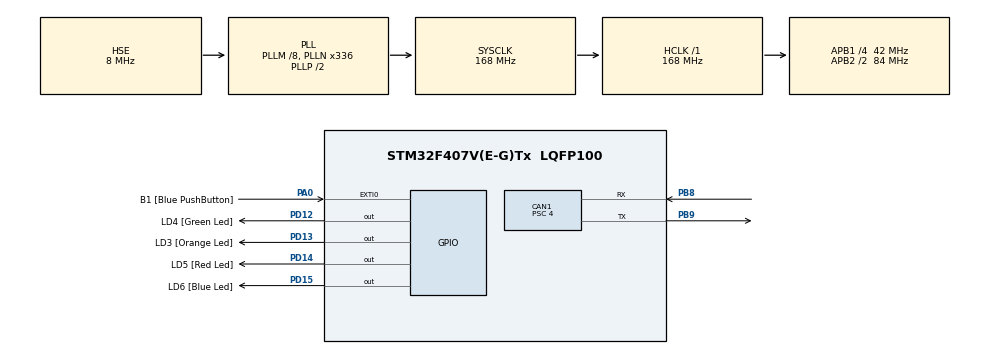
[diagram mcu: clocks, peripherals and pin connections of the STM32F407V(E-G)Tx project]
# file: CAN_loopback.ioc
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CAN1.BS1=CAN_BS1_15TQ
CAN1.BS2=CAN_BS2_5TQ
CAN1.CalculateBaudRate=500000
CAN1.CalculateTimeBit=2000
CAN1.CalculateTimeQuantum=95.23809523809524
CAN1.Mode=CAN_MODE_LOOPBACK
CAN1.NART=DISABLE
CAN1.Prescaler=4
Mcu.Family=STM32F4
Mcu.Name=STM32F407V(E-G)Tx
Mcu.Package=LQFP100
NVIC.CAN1_RX0_IRQn=true\:0\:0\:false\:false\:true\:true\:true\:true
NVIC.CAN1_RX1_IRQn=true\:0\:0\:false\:false\:true\:true\:true\:true
NVIC.PriorityGroup=NVIC_PRIORITYGROUP_0
PA0-WKUP.GPIO_Label=B1 [Blue PushButton]
PA0-WKUP.GPIO_ModeDefaultEXTI=GPIO_MODE_EVT_RISING
PA0-WKUP.GPIO_PuPd=GPIO_NOPULL
PA0-WKUP.Signal=GPXTI0
PA13.GPIO_Label=SWDIO
PA13.Mode=Trace_Asynchronous_SW
PA13.Signal=SYS_JTMS-SWDIO
PA14.GPIO_Label=SWCLK
PA14.Mode=Trace_Asynchronous_SW
PA14.Signal=SYS_JTCK-SWCLK
PB3.GPIO_Label=SWO
PB3.Mode=Trace_Asynchronous_SW
PB3.Signal=SYS_JTDO-SWO
PB8.Mode=CAN_Activate
PB8.Signal=CAN1_RX
PB9.Mode=CAN_Activate
PB9.Signal=CAN1_TX
PD12.GPIO_Label=LD4 [Green Led]
PD12.GPIO_PuPd=GPIO_NOPULL
PD12.GPIO_Speed=GPIO_SPEED_FREQ_LOW
PD12.Signal=GPIO_Output
PD13.GPIO_Label=LD3 [Orange Led]
PD13.GPIO_PuPd=GPIO_NOPULL
PD13.GPIO_Speed=GPIO_SPEED_FREQ_LOW
PD13.Signal=GPIO_Output
PD14.GPIO_Label=LD5 [Red Led]
PD14.GPIO_PuPd=GPIO_NOPULL
PD14.GPIO_Speed=GPIO_SPEED_FREQ_LOW
PD14.Signal=GPIO_Output
PD15.GPIO_Label=LD6 [Blue Led]
PD15.GPIO_PuPd=GPIO_NOPULL
PD15.GPIO_Speed=GPIO_SPEED_FREQ_LOW
PD15.Signal=GPIO_Output
PH0-OSC_IN.GPIO_Label=PH0-OSC_IN
PH0-OSC_IN.Mode=HSE-External-Oscillator
PH0-OSC_IN.Signal=RCC_OSC_IN
PH1-OSC_OUT.GPIO_Label=PH1-OSC_OUT
PH1-OSC_OUT.Mode=HSE-External-Oscillator
PH1-OSC_OUT.Signal=RCC_OSC_OUT
ProjectManager.HeapSize=0x200
ProjectManager.StackSize=0x400
ProjectManager.TargetToolchain=STM32CubeIDE
RCC.48MHZClocksFreq_Value=48000000
RCC.AHBFreq_Value=168000000
RCC.APB1CLKDivider=RCC_HCLK_DIV4
RCC.APB1Freq_Value=42000000
RCC.APB1TimFreq_Value=84000000
RCC.APB2CLKDivider=RCC_HCLK_DIV2
RCC.APB2Freq_Value=84000000
RCC.APB2TimFreq_Value=168000000
RCC.CortexFreq_Value=168000000
RCC.HCLKFreq_Value=168000000
RCC.HSE_VALUE=8000000
RCC.HSI_VALUE=16000000
RCC.LSE_VALUE=32768
RCC.PLLM=8
RCC.PLLN=336
RCC.PLLQ=7
RCC.PLLSourceVirtual=RCC_PLLSOURCE_HSE
RCC.SYSCLKFreq_VALUE=168000000
RCC.SYSCLKSource=RCC_SYSCLKSOURCE_PLLCLK
RCC.VCOOutputFreq_Value=336000000
board=STM32F407G-DISC1

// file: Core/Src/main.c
/* USER CODE BEGIN Header */
/**
  ******************************************************************************
  * @file           : main.c
  * @brief          : Main program body
  ******************************************************************************
  * @attention
  *
  * Copyright (c) 2023 STMicroelectronics.
  * All rights reserved.
  *
  * This software is licensed under terms that can be found in the LICENSE file
  * in the root directory of this software component.
  * If no LICENSE file comes with this software, it is provided AS-IS.
  *
  ******************************************************************************
  */
/* USER CODE END Header */
#include "main.h"

CAN_HandleTypeDef hcan1;

void SystemClock_Config(void);
static void MX_GPIO_Init(void);
static void MX_CAN1_Init(void);

/* USER CODE BEGIN 0 */

CAN_TxHeaderTypeDef TxHeader;
CAN_RxHeaderTypeDef RxHeader;

uint32_t TxMailbox;

uint8_t TxData[8];
uint8_t RxData[8];

uint32_t count = 0;

void CAN_RxFifo0MsgPendingCallback(CAN_HandleTypeDef *hcan){
	HAL_CAN_GetRxMessage(&hcan1, CAN_RX_FIFO0, &RxHeader, RxData);
	count++;
}

/* USER CODE END 0 */

int main(void)
{

  /* MCU Configuration--------------------------------------------------------*/

  /* Reset of all peripherals, Initializes the Flash interface and the Systick. */
  HAL_Init();

  /* Configure the system clock */
  SystemClock_Config();

  /* Initialize all configured peripherals */
  MX_GPIO_Init();
  MX_CAN1_Init();
  /* USER CODE BEGIN 2 */
  void (*pCAN_RxFifo0MsgPendingCallback)(CAN_HandleTypeDef *_hcan) = &CAN_RxFifo0MsgPendingCallback;

  if(HAL_CAN_RegisterCallback(&hcan1, HAL_CAN_RX_FIFO0_MSG_PENDING_CB_ID, pCAN_RxFifo0MsgPendingCallback) != HAL_OK){
	  Error_Handler();
  }
  HAL_CAN_Start(&hcan1);
  HAL_CAN_ActivateNotification(&hcan1, CAN_IT_RX_FIFO0_MSG_PENDING);

  TxHeader.DLC = 4;
  TxHeader.ExtId = 0x301;
  TxHeader.IDE = CAN_ID_EXT;
  TxHeader.RTR = CAN_RTR_DATA;
  TxHeader.StdId = 0;
  TxHeader.TransmitGlobalTime = DISABLE;

  TxData[0] = 0x00;
  TxData[1] = 0x00;
  TxData[2] = 0x1B;
  TxData[3] = 0x58;

  /* USER CODE END 2 */

  /* Infinite loop */
  /* USER CODE BEGIN WHILE */
  while (1)
  {
	  HAL_CAN_AddTxMessage(&hcan1, &TxHeader, TxData, &TxMailbox);

	  HAL_Delay(100);
    /* USER CODE END WHILE */

  }
}

void SystemClock_Config(void)
{
  RCC_OscInitTypeDef RCC_OscInitStruct = {0};
  RCC_ClkInitTypeDef RCC_ClkInitStruct = {0};

  /** Configure the main internal regulator output voltage
  */
  __HAL_RCC_PWR_CLK_ENABLE();
  __HAL_PWR_VOLTAGESCALING_CONFIG(PWR_REGULATOR_VOLTAGE_SCALE1);

  /** Initializes the RCC Oscillators according to the specified parameters
  * in the RCC_OscInitTypeDef structure.
  */
  RCC_OscInitStruct.OscillatorType = RCC_OSCILLATORTYPE_HSE;
  RCC_OscInitStruct.HSEState = RCC_HSE_ON;
  RCC_OscInitStruct.PLL.PLLState = RCC_PLL_ON;
  RCC_OscInitStruct.PLL.PLLSource = RCC_PLLSOURCE_HSE;
  RCC_OscInitStruct.PLL.PLLM = 8;
  RCC_OscInitStruct.PLL.PLLN = 336;
  RCC_OscInitStruct.PLL.PLLP = RCC_PLLP_DIV2;
  RCC_OscInitStruct.PLL.PLLQ = 7;
  if (HAL_RCC_OscConfig(&RCC_OscInitStruct) != HAL_OK)
  {
    Error_Handler();
  }

  /** Initializes the CPU, AHB and APB buses clocks
  */
  RCC_ClkInitStruct.ClockType = RCC_CLOCKTYPE_HCLK|RCC_CLOCKTYPE_SYSCLK
                              |RCC_CLOCKTYPE_PCLK1|RCC_CLOCKTYPE_PCLK2;
  RCC_ClkInitStruct.SYSCLKSource = RCC_SYSCLKSOURCE_PLLCLK;
  RCC_ClkInitStruct.AHBCLKDivider = RCC_SYSCLK_DIV1;
  RCC_ClkInitStruct.APB1CLKDivider = RCC_HCLK_DIV4;
  RCC_ClkInitStruct.APB2CLKDivider = RCC_HCLK_DIV2;

  if (HAL_RCC_ClockConfig(&RCC_ClkInitStruct, FLASH_LATENCY_5) != HAL_OK)
  {
    Error_Handler();
  }
}

static void MX_CAN1_Init(void)
{

  hcan1.Instance = CAN1;
  hcan1.Init.Prescaler = 4;
  hcan1.Init.Mode = CAN_MODE_LOOPBACK;
  hcan1.Init.SyncJumpWidth = CAN_SJW_1TQ;
  hcan1.Init.TimeSeg1 = CAN_BS1_15TQ;
  hcan1.Init.TimeSeg2 = CAN_BS2_5TQ;
  hcan1.Init.TimeTriggeredMode = DISABLE;
  hcan1.Init.AutoBusOff = DISABLE;
  hcan1.Init.AutoWakeUp = DISABLE;
  hcan1.Init.AutoRetransmission = DISABLE;
  hcan1.Init.ReceiveFifoLocked = DISABLE;
  hcan1.Init.TransmitFifoPriority = DISABLE;
  if (HAL_CAN_Init(&hcan1) != HAL_OK)
  {
    Error_Handler();
  }
  /* USER CODE BEGIN CAN1_Init 2 */
  CAN_FilterTypeDef canfilterconfig;

  canfilterconfig.FilterActivation = CAN_FILTER_ENABLE;
  canfilterconfig.FilterBank = 0;
  canfilterconfig.FilterFIFOAssignment = CAN_RX_FIFO0;
  canfilterconfig.FilterIdHigh = 0x0000;
  canfilterconfig.FilterIdLow = 0x0000;
  canfilterconfig.FilterMaskIdHigh = 0x0000;
  canfilterconfig.FilterMaskIdLow = 0x0000;
  canfilterconfig.FilterMode = CAN_FILTERMODE_IDMASK;
  canfilterconfig.FilterScale = CAN_FILTERSCALE_32BIT;
  canfilterconfig.SlaveStartFilterBank = 14;

  HAL_CAN_ConfigFilter(&hcan1, &canfilterconfig);

  /* USER CODE END CAN1_Init 2 */

}

static void MX_GPIO_Init(void)
{
  GPIO_InitTypeDef GPIO_InitStruct = {0};

  /* GPIO Ports Clock Enable */
  __HAL_RCC_GPIOH_CLK_ENABLE();
  __HAL_RCC_GPIOA_CLK_ENABLE();
  __HAL_RCC_GPIOD_CLK_ENABLE();
  __HAL_RCC_GPIOB_CLK_ENABLE();

  /*Configure GPIO pin Output Level */
  HAL_GPIO_WritePin(GPIOD, LD4_Pin|LD3_Pin|LD5_Pin|LD6_Pin, GPIO_PIN_RESET);

  /*Configure GPIO pin : B1_Pin */
  GPIO_InitStruct.Pin = B1_Pin;
  GPIO_InitStruct.Mode = GPIO_MODE_EVT_RISING;
  GPIO_InitStruct.Pull = GPIO_NOPULL;
  HAL_GPIO_Init(B1_GPIO_Port, &GPIO_InitStruct);

  /*Configure GPIO pins : LD4_Pin LD3_Pin LD5_Pin LD6_Pin */
  GPIO_InitStruct.Pin = LD4_Pin|LD3_Pin|LD5_Pin|LD6_Pin;
  GPIO_InitStruct.Mode = GPIO_MODE_OUTPUT_PP;
  GPIO_InitStruct.Pull = GPIO_NOPULL;
  GPIO_InitStruct.Speed = GPIO_SPEED_FREQ_LOW;
  HAL_GPIO_Init(GPIOD, &GPIO_InitStruct);

}

void Error_Handler(void)
{
  __disable_irq();
  while (1)
  {
  }
}
